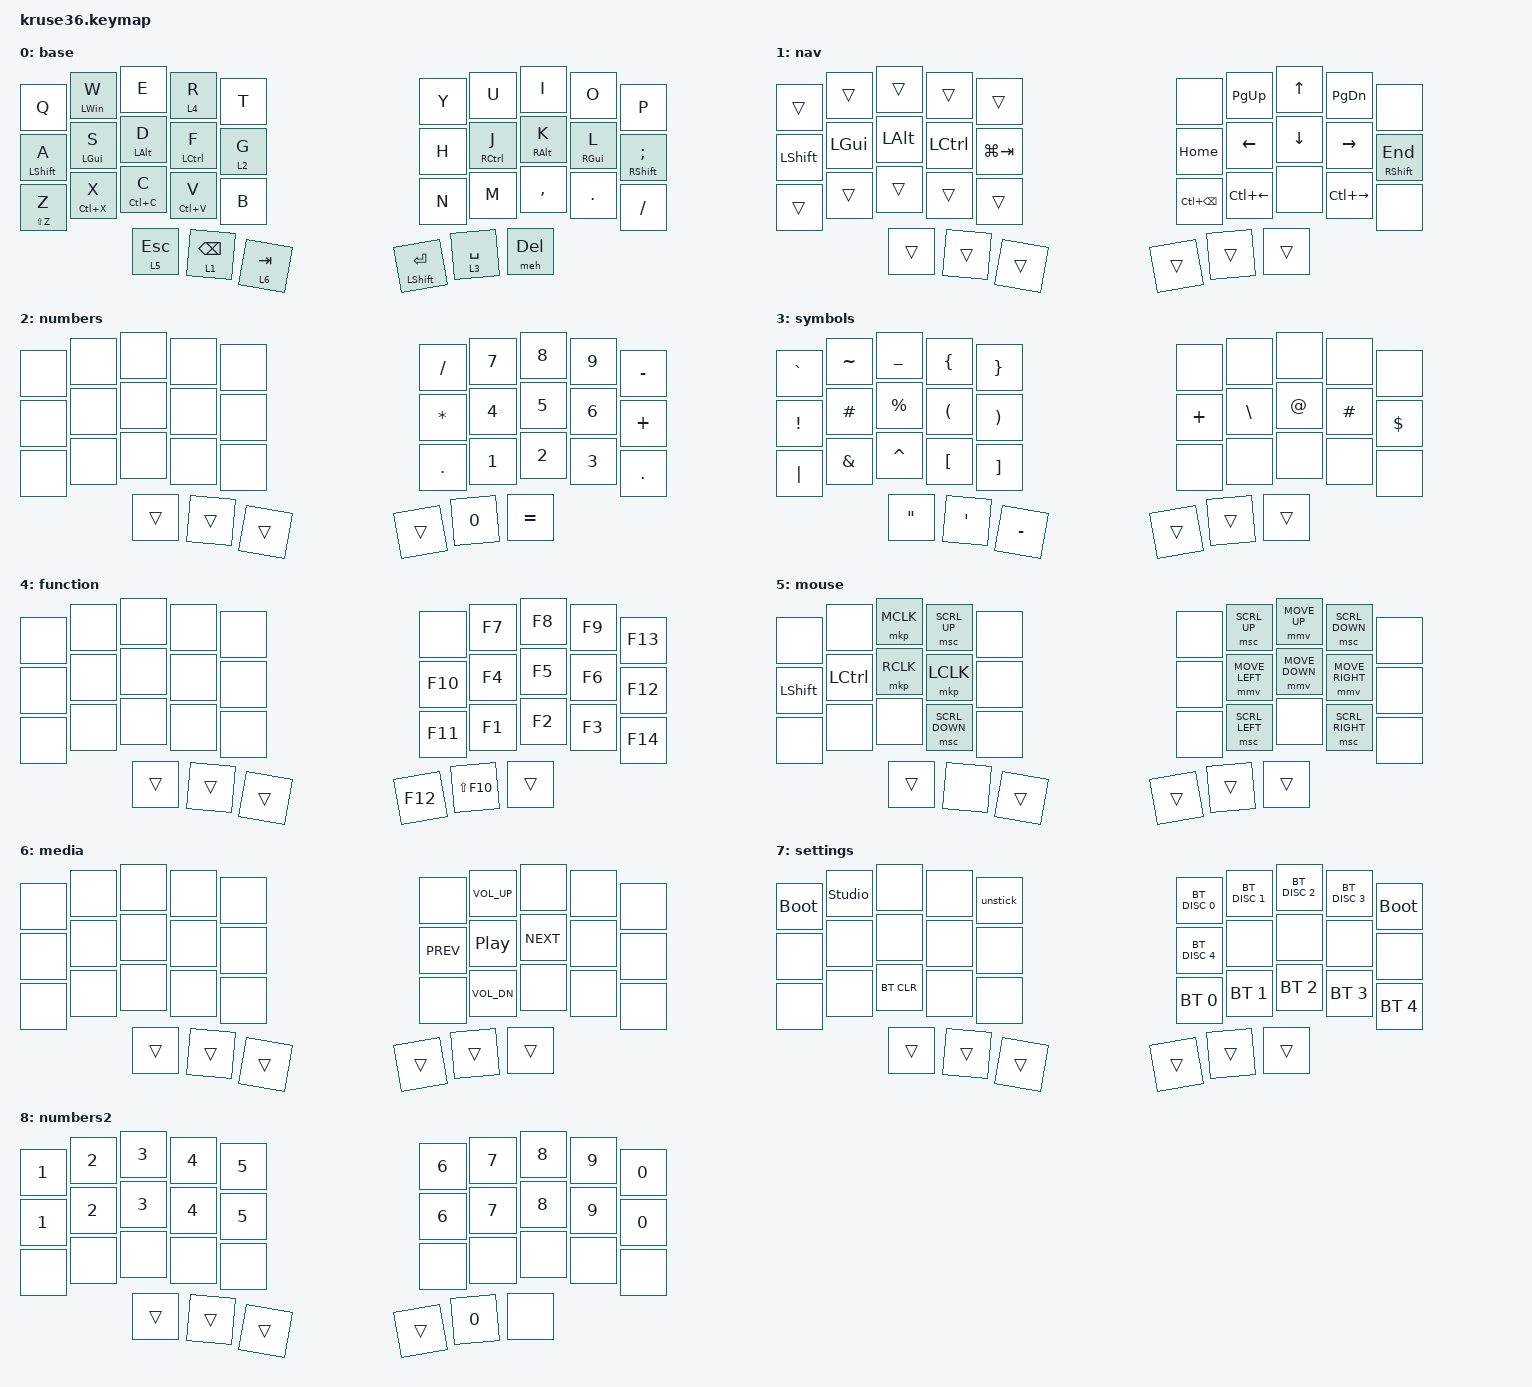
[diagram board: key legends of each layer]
#define ZMK_POINTING_DEFAULT_MOVE_VAL 1800  // default: 600
#define ZMK_POINTING_DEFAULT_SCRL_VAL 35    // default: 10

#include <behaviors.dtsi>
#include <dt-bindings/zmk/bt.h>
#include <dt-bindings/zmk/keys.h>
#include <dt-bindings/zmk/pointing.h>

&mt {
    //  flavor = "tap-preferred";
    // tapping_term_ms = <200>;
};

&lt { require-prior-idle-ms = <120>; };

&mmv {
    delay-ms = <0>;
    time-to-max-speed-ms = <165>;
    trigger-period-ms = <8>;
};

/ {
    macros {
        // sometimes my device thinks a modifier is being held down
        // pressing all modifiers fixes it.

        unstick: unstick {
            label = "ZM_unstick";
            compatible = "zmk,behavior-macro";
            #binding-cells = <0>;
            bindings = <&kp LSHIFT &kp RSHIFT &kp LCTRL &kp RCTRL &kp LALT &kp RALT &kp LGUI &kp RGUI>;
        };

        alt_tab: alt_tab {
            compatible = "zmk,behavior-macro";
            #binding-cells = <0>;
            bindings = <&kp LEFT_ALT &kp TAB>;
            label = "ALT_TAB";
        };

        win_tab: win_tab {
            compatible = "zmk,behavior-macro";
            #binding-cells = <0>;
            bindings = <&kp LGUI &kp TAB>;
            label = "WIN_TAB";
        };

        hyper: hyper {
            compatible = "zmk,behavior-macro";
            #binding-cells = <0>;
            bindings =
                <&macro_press>,
                <&kp LCTRL &kp LEFT_WIN &kp LEFT_SHIFT &kp LEFT_ALT>,
                <&macro_pause_for_release>,
                <&macro_release>,
                <&kp LCTRL &kp LEFT_WIN &kp LEFT_SHIFT &kp LEFT_ALT>;

            label = "HYPER";
        };

        meh: meh {
            compatible = "zmk,behavior-macro";
            #binding-cells = <0>;
            bindings =
                <&macro_press>,
                <&kp LCTRL &kp LEFT_SHIFT &kp LEFT_ALT>,
                <&macro_pause_for_release>,
                <&macro_release>,
                <&kp LCTRL &kp LEFT_SHIFT &kp LEFT_ALT>;

            label = "MEH";
        };
    };

    combos {
        compatible = "zmk,combos";

        // both right thumb keys
        // internal-left & external-right thumb keys
        // both left thumb keys

        combo_settings {
            timeout-ms = <300>;
            key-positions = <30 31>;
            bindings = <&mo 7>;
            require-prior-idle-ms = <150>;
        };

        settings2 {
            bindings = <&mo 7>;
            key-positions = <35 34>;
            require-prior-idle-ms = <150>;
        };

        click {
            bindings = <&mkp MB1>;
            key-positions = <13 31>;
            timeout-ms = <200>;
            require-prior-idle-ms = <150>;
        };

        undo {
            bindings = <&kp LC(Z)>;
            key-positions = <20 21>;
        };

        copy {
            bindings = <&kp LC(C)>;
            key-positions = <21 22>;
        };

        paste {
            bindings = <&kp LC(V)>;
            key-positions = <22 23>;
        };

        redo {
            bindings = <&kp LC(Y)>;
            key-positions = <23 24>;
        };

        enter {
            bindings = <&kp ENTER>;
            key-positions = <12 13 11>;
            require-prior-idle-ms = <150>;
        };
    };

    behaviors {
        longPress: longPress {
            compatible = "zmk,behavior-hold-tap";
            label = "LONGPRESS";
            bindings = <&kp>, <&kp>;

            #binding-cells = <2>;
            flavor = "tap-preferred";
            tapping-term-ms = <250>;
            require-prior-idle-ms = <200>;
        };

        HMR: HMR {
            compatible = "zmk,behavior-hold-tap";
            label = "HMR";
            bindings = <&kp>, <&kp>;

            #binding-cells = <2>;
            flavor = "tap-preferred";
            tapping-term-ms = <160>;
            hold-trigger-key-positions = <0 1 2 11 12 0 1 2 3 4 10 11 12 13 14 20 21 22 23 24 30 31 32>;
            require-prior-idle-ms = <120>;
        };

        HML: HML {
            compatible = "zmk,behavior-hold-tap";
            label = "HML";
            bindings = <&kp>, <&kp>;

            #binding-cells = <2>;
            flavor = "tap-preferred";
            tapping-term-ms = <160>;
            hold-trigger-key-positions = <5 6 7 8 9 15 16 17 18 19 25 26 27 28 29 33 34 35>;
            require-prior-idle-ms = <120>;
        };

        ht_hyper: ht_hyper {
            compatible = "zmk,behavior-hold-tap";
            label = "HT_HYPER";
            bindings = <&hyper>, <&kp>;

            #binding-cells = <2>;
            flavor = "tap-preferred";
            tapping-term-ms = <160>;
            require-prior-idle-ms = <120>;
        };

        ht_meh: ht_meh {
            compatible = "zmk,behavior-hold-tap";
            label = "HT_MEH";
            bindings = <&meh>, <&kp>;

            #binding-cells = <2>;
            flavor = "tap-preferred";
            tapping-term-ms = <160>;
            require-prior-idle-ms = <120>;
        };
    };

    keymap {
        compatible = "zmk,keymap";

        base {
            bindings = <
  &kp Q               &longPress LEFT_WIN W  &kp E               &lt 4 R             &kp T        &kp Y                  &kp U         &kp I             &kp O             &kp P
  &HML LSHIFT A       &HML LEFT_GUI S        &HML LEFT_ALT D     &HML LCTRL F        &lt 2 G      &kp H                  &HMR RCTRL J  &HMR RIGHT_ALT K  &HMR RIGHT_GUI L  &HMR RSHFT SEMI
  &longPress LS(Z) Z  &longPress LC(X) X     &longPress LC(C) C  &longPress LC(V) V  &kp B        &kp N                  &kp M         &kp COMMA         &kp DOT           &kp SLASH
                                             &lt 5 ESCAPE        &lt 1 BACKSPACE     &lt 6 TAB    &HMR LEFT_SHIFT ENTER  &lt 3 SPACE   &ht_meh 0 DELETE
            >;
        };

        nav {
            bindings = <
  &trans     &trans    &trans    &trans     &trans         &none         &kp PG_UP     &kp UP_ARROW  &kp PG_DN      &none
  &kp LSHFT  &kp LGUI  &kp LALT  &kp LCTRL  &kp LG(TAB)    &kp HOME      &kp LEFT      &kp DOWN      &kp RIGHT      &HMR RIGHT_SHIFT END
  &trans     &trans    &trans    &trans     &trans         &kp LC(BSPC)  &kp LC(LEFT)  &none         &kp LC(RIGHT)  &none
                       &trans    &trans     &trans         &trans        &trans        &trans
            >;
        };

        numbers {
            bindings = <
  &none  &none  &none   &none   &none     &kp SLASH     &kp NUMBER_7  &kp NUMBER_8  &kp NUMBER_9  &kp MINUS
  &none  &none  &none   &none   &none     &kp ASTERISK  &kp NUMBER_4  &kp NUMBER_5  &kp NUMBER_6  &kp PLUS
  &none  &none  &none   &none   &none     &kp PERIOD    &kp NUMBER_1  &kp NUMBER_2  &kp NUMBER_3  &kp PERIOD
                &trans  &trans  &trans    &trans        &kp N0        &kp EQUAL
            >;
        };

        symbols {
            bindings = <
  &kp GRAVE  &kp TILDE      &kp UNDER          &kp LBRC              &kp RIGHT_BRACE          &none     &none          &none        &none     &none
  &kp EXCL   &kp POUND      &kp PERCENT        &kp LEFT_PARENTHESIS  &kp RIGHT_PARENTHESIS    &kp PLUS  &kp BACKSLASH  &kp AT_SIGN  &kp HASH  &kp DOLLAR
  &kp PIPE   &kp AMPERSAND  &kp CARET          &kp LEFT_BRACKET      &kp RIGHT_BRACKET        &none     &none          &none        &none     &none
                            &kp DOUBLE_QUOTES  &kp SINGLE_QUOTE      &kp MINUS                &trans    &trans         &trans
            >;
        };

        function {
            bindings = <
  &none  &none  &none   &none   &none     &none    &kp F7       &kp F8  &kp F9  &kp F13
  &none  &none  &none   &none   &none     &kp F10  &kp F4       &kp F5  &kp F6  &kp F12
  &none  &none  &none   &none   &none     &kp F11  &kp F1       &kp F2  &kp F3  &kp F14
                &trans  &trans  &trans    &kp F12  &kp LS(F10)  &trans
            >;
        };

        mouse {
            bindings = <
  &none           &none      &mkp MCLK  &msc SCRL_UP    &none     &none   &msc SCRL_UP    &mmv MOVE_UP    &msc SCRL_DOWN   &none
  &kp LEFT_SHIFT  &kp LCTRL  &mkp RCLK  &mkp LCLK       &none     &none   &mmv MOVE_LEFT  &mmv MOVE_DOWN  &mmv MOVE_RIGHT  &none
  &none           &none      &none      &msc SCRL_DOWN  &none     &none   &msc SCRL_LEFT  &none           &msc SCRL_RIGHT  &none
                             &trans     &none           &trans    &trans  &trans          &trans
            >;
        };

        media {
            bindings = <
  &none  &none  &none   &none   &none     &none       &kp C_VOLUME_UP   &none       &none  &none
  &none  &none  &none   &none   &none     &kp C_PREV  &kp C_PLAY_PAUSE  &kp C_NEXT  &none  &none
  &none  &none  &none   &none   &none     &none       &kp C_VOL_DN      &none       &none  &none
                &trans  &trans  &trans    &trans      &trans            &trans
            >;
        };

        settings {
            bindings = <
  &bootloader  &studio_unlock  &none       &none   &unstick    &bt BT_DISC 0  &bt BT_DISC 1  &bt BT_DISC 2  &bt BT_DISC 3  &bootloader
  &none        &none           &none       &none   &none       &bt BT_DISC 4  &none          &none          &none          &none
  &none        &none           &bt BT_CLR  &none   &none       &bt BT_SEL 0   &bt BT_SEL 1   &bt BT_SEL 2   &bt BT_SEL 3   &bt BT_SEL 4
                               &trans      &trans  &trans      &trans         &trans         &trans
            >;
        };

        numbers2 {
            bindings = <
  &kp NUMBER_1  &kp NUMBER_2  &kp NUMBER_3  &kp NUMBER_4  &kp NUMBER_5    &kp NUMBER_6  &kp NUMBER_7  &kp NUMBER_8  &kp NUMBER_9  &kp NUMBER_0
  &kp NUMBER_1  &kp NUMBER_2  &kp NUMBER_3  &kp NUMBER_4  &kp NUMBER_5    &kp NUMBER_6  &kp NUMBER_7  &kp N8        &kp NUMBER_9  &kp NUMBER_0
  &none         &none         &none         &none         &none           &none         &none         &none         &none         &none
                              &trans        &trans        &trans          &trans        &kp N0        &none
            >;
        };
    };
};
